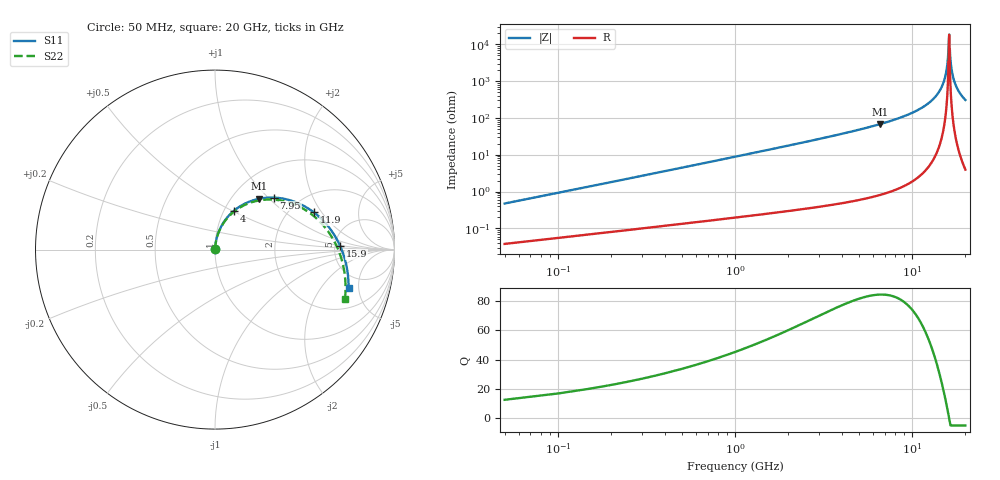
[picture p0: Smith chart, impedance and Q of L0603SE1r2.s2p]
!	AVX	Thin	Film	Operation	Date:		2004
!	Description:		"Series,"	Thin	"Film,"	"LGA,"	RF	Inductors
!	Part	Number:	L06031r2nH
!	50	MHz	-	20	GHz
!	Serial	Measurements
#	mhz	S	db	R	50
!	S11	S11	S21	S21	S12	S12	S22	S22
!	dB	Phase	dB	Phase	dB	Phase	dB	Phase
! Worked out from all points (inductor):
!   400 points, 50 MHz to 20 GHz, reference 50 ohm
!   read as 1/Y11, port 2 shorted: L = 1.44 nH near 150 MHz
!   highest Q = 84.3 at 6.6 GHz (marker M1), where L = 1.65 nH
!   self-resonance near 16.15 GHz
!   S11 on the Smith chart (normalised r, x): 50 MHz: 1.00, +0.01; 4 GHz: 1.11, +0.51; 7.95 GHz: 1.51, +1.08; 11.9 GHz: 2.67, +1.70; 15.9 GHz: 5.58, +0.43; 20 GHz: 3.61, -3.85
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50  -49.17 83.4  -0.00 -0.3  -0.00 -0.3  -49.17 83.4
100  -43.47 84.7  -0.00 -0.7  -0.00 -0.7  -43.47 84.6
150  -40.09 85.1  -0.01 -1.0  -0.01 -1.0  -40.09 85.0
250  -35.81 85.2  -0.01 -1.6  -0.01 -1.6  -35.81 85.1
350  -32.97 85.0  -0.01 -2.3  -0.01 -2.3  -32.97 84.9
450  -30.84 84.6  -0.01 -2.9  -0.01 -2.9  -30.84 84.5
600  -28.40 84.0  -0.02 -3.9  -0.02 -3.9  -28.40 83.8
800  -25.96 83.0  -0.03 -5.2  -0.03 -5.2  -25.96 82.7
1250  -22.17 80.5  -0.05 -8.1  -0.05 -8.1  -22.17 80.1
1800  -19.08 77.3  -0.08 -11.6  -0.08 -11.6  -19.08 76.8
2500  -16.31 73.1  -0.13 -16.0  -0.13 -16.0  -16.31 72.4
3400  -13.76 67.7  -0.22 -21.7  -0.22 -21.7  -13.76 66.8
4000  -12.43 64.2  -0.29 -25.4  -0.29 -25.4  -12.43 63.1
6600  -8.52 49.0  -0.71 -41.1  -0.71 -41.1  -8.52 47.2
6700  -8.41 48.4  -0.73 -41.7  -0.73 -41.7  -8.40 46.7
7950  -7.17 41.4  -0.98 -48.9  -0.98 -48.9  -7.17 39.3
10050  -5.61 30.1  -1.45 -60.6  -1.45 -60.6  -5.61 27.5
11900  -4.60 20.6  -1.91 -70.3  -1.91 -70.3  -4.60 17.6
13350  -3.98 13.5  -2.29 -77.6  -2.29 -77.6  -3.97 10.1
15900  -3.13 1.6  -2.97 -89.8  -2.97 -89.8  -3.13 -2.3
16700  -2.92 -2.0  -3.19 -93.5  -3.19 -93.5  -2.91 -6.0
20000  -2.22 -16.0  -4.06 -107.9  -4.06 -107.9  -2.22 -20.7
